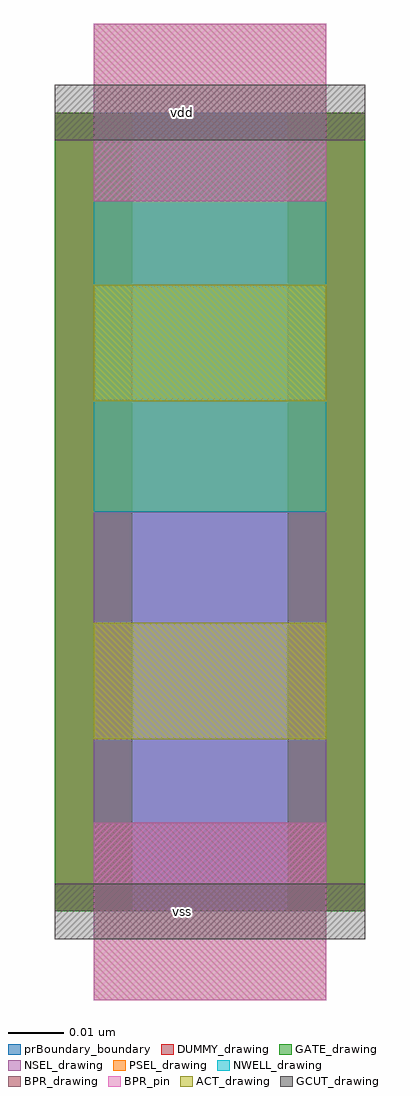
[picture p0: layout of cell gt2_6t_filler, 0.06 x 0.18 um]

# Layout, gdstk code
import gdstk
lib = gdstk.Library(unit=1e-6, precision=5e-10)
def R(c, l, rs):  # rectangles x0, y0, x1, y1
    for r in rs: c.add(gdstk.rectangle(r[:2], r[2:], *l))
NWELL_drawing = (1, 0)
ACT_drawing = (2, 0)
GATE_drawing = (3, 0)
DUMMY_drawing = (4, 0)
GCUT_drawing = (5, 0)
NSEL_drawing = (6, 0)
PSEL_drawing = (7, 0)
BPR_drawing = (8, 0)
BPR_pin = (8, 251)
prBoundary_boundary = (235, 250)

gt2_6t_filler = lib.new_cell('gt2_6t_filler')
R(gt2_6t_filler, NWELL_drawing, [(0,0.072,0.042,0.144)])
R(gt2_6t_filler, ACT_drawing, [(0,0.031,0.042,0.052), (0,0.092,0.042,0.113)])
R(gt2_6t_filler, GATE_drawing, [(-0.007,0,0.007,0.144), (0.035,0,0.049,0.144)])
R(gt2_6t_filler, DUMMY_drawing, [(-0.007,0,0.007,0.144), (0.035,0,0.049,0.144)])
R(gt2_6t_filler, GCUT_drawing, [(-0.007,-0.005,0.049,0.005), (-0.007,0.139,0.049,0.149)])
R(gt2_6t_filler, NSEL_drawing, [(0,0,0.042,0.072)])
R(gt2_6t_filler, PSEL_drawing, [(0,0.072,0.042,0.144)])
R(gt2_6t_filler, BPR_drawing, [(0,-0.016,0.042,0.016), (0,0.128,0.042,0.16)])
R(gt2_6t_filler, BPR_pin, [(0,-0.016,0.042,0.016), (0,0.128,0.042,0.16)])
R(gt2_6t_filler, prBoundary_boundary, [(0,0,0.042,0.144)])
gt2_6t_filler.add(gdstk.Label('vdd', (0.016,0.144), layer=8, texttype=251))
gt2_6t_filler.add(gdstk.Label('vss', (0.016,0), layer=8, texttype=251))

lib.write_gds('gt2_6t_filler.gds')
